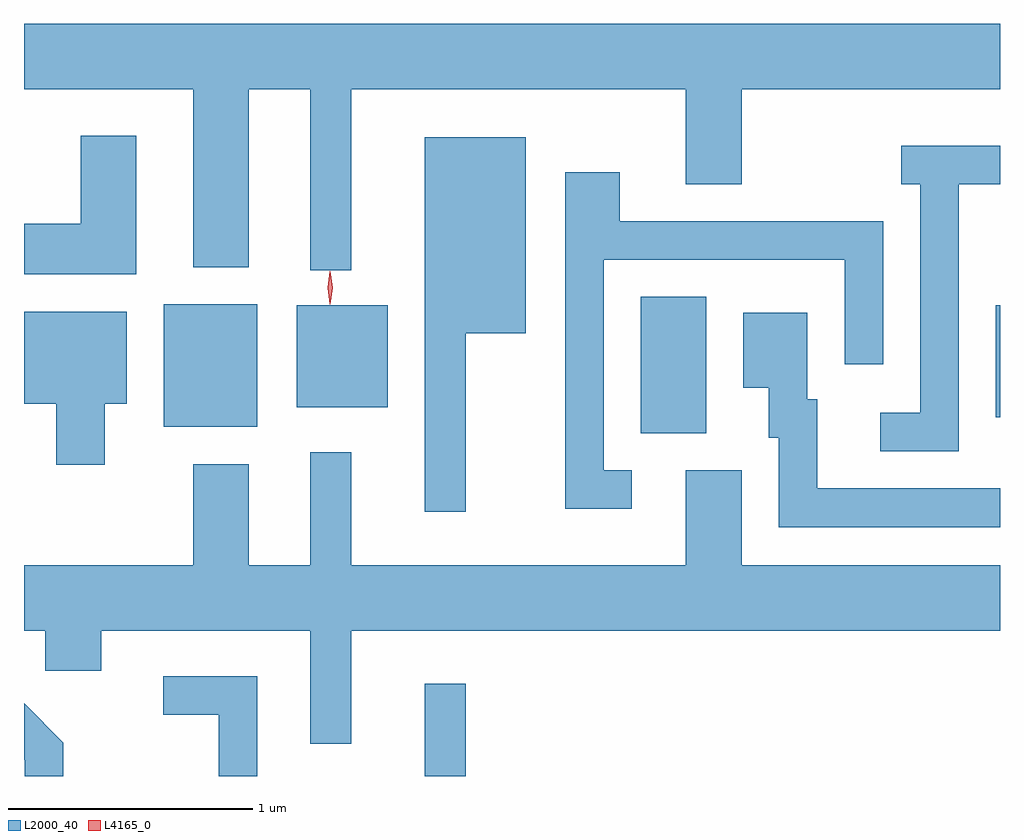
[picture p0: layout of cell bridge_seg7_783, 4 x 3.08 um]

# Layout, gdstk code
import gdstk
lib = gdstk.Library(unit=1e-6, precision=1e-09)
def R(c, l, rs):  # rectangles x0, y0, x1, y1
    for r in rs: c.add(gdstk.rectangle(r[:2], r[2:], *l))
def P(c, l, *ps):  # polygons
    for p in ps: c.add(gdstk.Polygon(p, *l))
L2000_40 = (2000, 40)
L4165_0 = (4165, 0)

bridge_seg7_783 = lib.new_cell('bridge_seg7_783')
R(bridge_seg7_783, L2000_40, [(384.171,1786.979,384.339,1787.358), (385.056,1788.386,385.324,1788.944), (383.101,1788.411,383.484,1788.914), (386.511,1788.451,386.528,1788.909), (383.646,1788.491,384.019,1788.909)])
P(bridge_seg7_783, L2000_40, [(383.869,1789.796),(385.241,1789.796),(385.241,1789.406),(385.469,1789.406),(385.469,1789.796),(386.528,1789.796),(386.528,1790.064),(382.528,1790.064),(382.528,1789.796),(383.221,1789.796),(383.221,1789.066),(383.449,1789.066),(383.449,1789.796),(383.701,1789.796),(383.701,1789.053),(383.869,1789.053)],
  [(382.989,1789.604),(382.761,1789.604),(382.761,1789.244),(382.528,1789.244),(382.528,1789.036),(382.989,1789.036)],
  [(384.339,1788.796),(384.584,1788.796),(384.584,1789.599),(384.171,1789.599),(384.171,1788.063),(384.339,1788.063)],
  [(386.359,1789.406),(386.528,1789.406),(386.528,1789.564),(386.123,1789.564),(386.123,1789.406),(386.201,1789.406),(386.201,1788.469),(386.038,1788.469),(386.038,1788.311),(386.359,1788.311)],
  [(385.018,1788.234),(384.904,1788.234),(384.904,1789.096),(385.891,1789.096),(385.891,1788.668),(386.049,1788.668),(386.049,1789.254),(384.969,1789.254),(384.969,1789.454),(384.746,1789.454),(384.746,1788.076),(385.018,1788.076)],
  [(382.859,1788.506),(382.949,1788.506),(382.949,1788.884),(382.528,1788.884),(382.528,1788.506),(382.661,1788.506),(382.661,1788.256),(382.859,1788.256)],
  [(386.528,1788.159),(385.779,1788.159),(385.779,1788.524),(385.739,1788.524),(385.739,1788.879),(385.476,1788.879),(385.476,1788.571),(385.581,1788.571),(385.581,1788.366),(385.621,1788.366),(385.621,1788.001),(386.528,1788.001)],
  [(383.869,1787.576),(386.528,1787.576),(386.528,1787.844),(385.469,1787.844),(385.469,1788.234),(385.241,1788.234),(385.241,1787.844),(383.869,1787.844),(383.869,1788.308),(383.701,1788.308),(383.701,1787.844),(383.449,1787.844),(383.449,1788.259),(383.221,1788.259),(383.221,1787.844),(382.528,1787.844),(382.528,1787.576),(382.616,1787.576),(382.616,1787.411),(382.844,1787.411),(382.844,1787.576),(383.701,1787.576),(383.701,1787.113),(383.869,1787.113)],
  [(383.484,1787.389),(383.098,1787.389),(383.098,1787.231),(383.326,1787.231),(383.326,1786.979),(383.484,1786.979)],
  [(382.689,1787.117),(382.528,1787.278),(382.528,1787.047),(382.531,1787.044),(382.531,1786.979),(382.689,1786.979)])
P(bridge_seg7_783, L4165_0, [(383.782,1788.914),(383.773,1788.982),(383.782,1789.05),(383.783,1789.05),(383.783,1789.05),(383.793,1788.982),(383.783,1788.914),(383.783,1788.914)],
  [(383.782,1788.918),(383.773,1788.982),(383.782,1789.046),(383.783,1789.047),(383.783,1789.046),(383.793,1788.982),(383.783,1788.918),(383.783,1788.918)])

lib.write_gds('bridge_seg7_783.gds')
